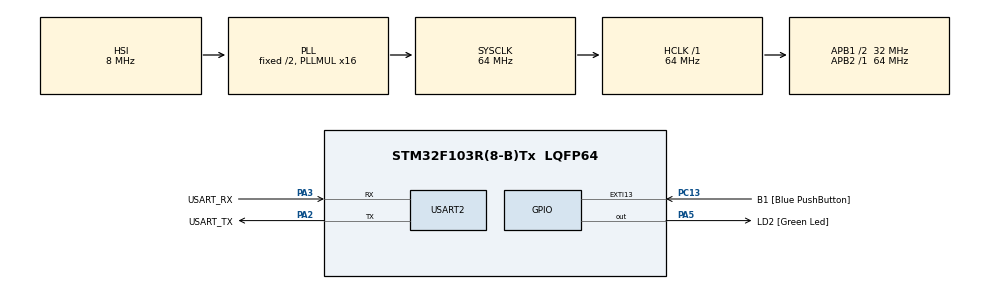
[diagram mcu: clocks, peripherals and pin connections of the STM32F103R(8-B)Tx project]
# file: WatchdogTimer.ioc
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Mcu.Family=STM32F1
Mcu.Name=STM32F103R(8-B)Tx
Mcu.Package=LQFP64
NVIC.EXTI15_10_IRQn=true\:0\:0\:false\:false\:true\:true\:true\:true
NVIC.PriorityGroup=NVIC_PRIORITYGROUP_4
PA13.GPIO_Label=TMS
PA13.Mode=Serial_Wire
PA13.Signal=SYS_JTMS-SWDIO
PA14.GPIO_Label=TCK
PA14.Mode=Serial_Wire
PA14.Signal=SYS_JTCK-SWCLK
PA2.GPIO_Label=USART_TX
PA2.GPIO_Mode=GPIO_MODE_AF_PP
PA2.GPIO_PuPd=GPIO_NOPULL
PA2.GPIO_Speed=GPIO_SPEED_FREQ_LOW
PA2.Mode=Asynchronous
PA2.Signal=USART2_TX
PA3.GPIO_Label=USART_RX
PA3.GPIO_Mode=GPIO_MODE_INPUT
PA3.GPIO_PuPd=GPIO_NOPULL
PA3.Mode=Asynchronous
PA3.Signal=USART2_RX
PA5.GPIO_Label=LD2 [Green Led]
PA5.GPIO_ModeDefaultOutputPP=GPIO_MODE_OUTPUT_PP
PA5.GPIO_PuPd=GPIO_NOPULL
PA5.GPIO_Speed=GPIO_SPEED_FREQ_LOW
PA5.Signal=GPIO_Output
PB3.GPIO_Label=SWO
PB3.Signal=SYS_JTDO-TRACESWO
PC13-TAMPER-RTC.GPIO_Label=B1 [Blue PushButton]
PC13-TAMPER-RTC.GPIO_PuPd=GPIO_NOPULL
PC13-TAMPER-RTC.Signal=GPXTI13
PC14-OSC32_IN.Mode=LSE-External-Oscillator
PC14-OSC32_IN.Signal=RCC_OSC32_IN
PC15-OSC32_OUT.Mode=LSE-External-Oscillator
PC15-OSC32_OUT.Signal=RCC_OSC32_OUT
PD0-OSC_IN.Mode=HSE-External-Clock-Source
PD0-OSC_IN.Signal=RCC_OSC_IN
PD1-OSC_OUT.Mode=HSE-External-Clock-Source
PD1-OSC_OUT.Signal=RCC_OSC_OUT
ProjectManager.HeapSize=0x200
ProjectManager.StackSize=0x400
ProjectManager.TargetToolchain=STM32CubeIDE
RCC.AHBFreq_Value=64000000
RCC.APB1CLKDivider=RCC_HCLK_DIV2
RCC.APB1Freq_Value=32000000
RCC.APB1TimFreq_Value=64000000
RCC.APB2Freq_Value=64000000
RCC.APB2TimFreq_Value=64000000
RCC.HCLKFreq_Value=64000000
RCC.PLLMUL=RCC_PLL_MUL16
RCC.RTCClockSelection=RCC_RTCCLKSOURCE_LSE
RCC.SYSCLKFreq_VALUE=64000000
RCC.SYSCLKSource=RCC_SYSCLKSOURCE_PLLCLK
RCC.USBFreq_Value=64000000
USART2.VirtualMode=VM_ASYNC
VP_WWDG_VS_WWDG.Mode=WWDG_Activate
WWDG.Counter=127
WWDG.Prescaler=WWDG_PRESCALER_8
WWDG.Window=96
board=NUCLEO-F103RB

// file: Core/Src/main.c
/* USER CODE BEGIN Header */
/**
  ******************************************************************************
  * @file           : main.c
  * @brief          : Main program body
  ******************************************************************************
  * @attention
  *
  * Copyright (c) 2026 STMicroelectronics.
  * All rights reserved.
  *
  * This software is licensed under terms that can be found in the LICENSE file
  * in the root directory of this software component.
  * If no LICENSE file comes with this software, it is provided AS-IS.
  *
  ******************************************************************************
  */
/**
 * 01_WatchdogTimer  —  [계층: HAL + WWDG(윈도우 워치독)]  주기적 리프레시로 프로그램 정지 감시
 *
 * 워치독 패턴: 초기화 -> 정상 동작 중 주기적으로 리프레시(킥) -> 리프레시를 못 하면 하드웨어가 리셋.
 * WWDG 는 "너무 늦게"뿐 아니라 "너무 일찍"(카운터가 윈도우 값보다 클 때) 리프레시해도 리셋한다.
 *
 * 하드웨어 대응 (RM0008)
 *   WWDG_CR.T[6:0] : 7비트 다운카운터. 0x3F 로 내려가면(T6 = 0) 리셋
 *   WWDG_CR.WDGA   : 한 번 켜면 리셋 전까지 끌 수 없다
 *   WWDG_CFR.W[6:0], WDGTB : 윈도우 값, 분주비 (여기서는 Window = 0x60, Prescaler = 8)
 *   카운트 주기 = PCLK1 / 4096 / 분주비  (PCLK1 = 32MHz)
 *   HAL_WWDG_Refresh : WWDG_CR 에 카운터 값을 다시 기록
 *   RCC_CSR.WWDGRSTF : 직전 리셋이 WWDG 에 의한 것이면 1 (부팅 시 UART 로 출력)
 *
 * 타이밍 계산 (정상 모드)
 *   1틱 = 4096 x 8 / 32MHz ≈ 1.024ms
 *   Counter = 0x7F(127) 에서 시작
 *   - 늦은 한계 : 0x7F -> 0x3F 까지 64틱 ≈ 65.5ms   (이보다 늦으면 리셋)
 *   - 이른 한계 : 0x7F -> 0x60 까지 31틱 ≈ 31.7ms   (이보다 빨리 리프레시해도 리셋)
 *   => 리프레시 허용 구간 ≈ 32 ~ 65ms, 루프 주기 50ms 는 이 구간 안에 있다.
 *
 * ISR 과 콜백의 구분
 *   HAL_GPIO_EXTI_Callback (이 파일) : 사용자 콜백 정의가 있으나 EXTI 입력은 이 예제의 핵심이 아니다.
 *   WWDG 조기 경고 인터럽트(EWI)는 사용하지 않는다 (EWIMode = DISABLE).
 */
/* USER CODE END Header */
#include "main.h"

UART_HandleTypeDef huart2;

WWDG_HandleTypeDef hwwdg;

void SystemClock_Config(void);
static void MX_GPIO_Init(void);
static void MX_USART2_UART_Init(void);
static void MX_WWDG_Init(void);

int main(void)
{

  /* MCU Configuration--------------------------------------------------------*/

  /* Reset of all peripherals, Initializes the Flash interface and the Systick. */
  HAL_Init();

  /* Configure the system clock */
  SystemClock_Config();

  /* Initialize all configured peripherals */
  MX_GPIO_Init();
  MX_USART2_UART_Init();
  MX_WWDG_Init();

  /* Infinite loop */
  /* USER CODE BEGIN WHILE */
  uint8_t i = 0;

  while (1)
  {
    if( i==20 )
    {
        i=0;
        HAL_GPIO_TogglePin(LD2_GPIO_Port, LD2_Pin);
    }
    HAL_Delay(50);
    i++;

    // Refresh WWDG
    if( HAL_WWDG_Refresh(&hwwdg) != HAL_OK )
    {
      Error_Handler();
    }

    /* USER CODE END WHILE */

  }
}

void SystemClock_Config(void)
{
  RCC_OscInitTypeDef RCC_OscInitStruct = {0};
  RCC_ClkInitTypeDef RCC_ClkInitStruct = {0};

  /** Initializes the RCC Oscillators according to the specified parameters
  * in the RCC_OscInitTypeDef structure.
  */
  RCC_OscInitStruct.OscillatorType = RCC_OSCILLATORTYPE_HSI;
  RCC_OscInitStruct.HSIState = RCC_HSI_ON;
  RCC_OscInitStruct.HSICalibrationValue = RCC_HSICALIBRATION_DEFAULT;
  RCC_OscInitStruct.PLL.PLLState = RCC_PLL_ON;
  RCC_OscInitStruct.PLL.PLLSource = RCC_PLLSOURCE_HSI_DIV2;
  RCC_OscInitStruct.PLL.PLLMUL = RCC_PLL_MUL16;
  if (HAL_RCC_OscConfig(&RCC_OscInitStruct) != HAL_OK)
  {
    Error_Handler();
  }

  /** Initializes the CPU, AHB and APB buses clocks
  */
  RCC_ClkInitStruct.ClockType = RCC_CLOCKTYPE_HCLK|RCC_CLOCKTYPE_SYSCLK
                              |RCC_CLOCKTYPE_PCLK1|RCC_CLOCKTYPE_PCLK2;
  RCC_ClkInitStruct.SYSCLKSource = RCC_SYSCLKSOURCE_PLLCLK;
  RCC_ClkInitStruct.AHBCLKDivider = RCC_SYSCLK_DIV1;
  RCC_ClkInitStruct.APB1CLKDivider = RCC_HCLK_DIV2;
  RCC_ClkInitStruct.APB2CLKDivider = RCC_HCLK_DIV1;

  if (HAL_RCC_ClockConfig(&RCC_ClkInitStruct, FLASH_LATENCY_2) != HAL_OK)
  {
    Error_Handler();
  }
}

static void MX_USART2_UART_Init(void)
{

  huart2.Instance = USART2;
  huart2.Init.BaudRate = 115200;
  huart2.Init.WordLength = UART_WORDLENGTH_8B;
  huart2.Init.StopBits = UART_STOPBITS_1;
  huart2.Init.Parity = UART_PARITY_NONE;
  huart2.Init.Mode = UART_MODE_TX_RX;
  huart2.Init.HwFlowCtl = UART_HWCONTROL_NONE;
  huart2.Init.OverSampling = UART_OVERSAMPLING_16;
  if (HAL_UART_Init(&huart2) != HAL_OK)
  {
    Error_Handler();
  }

}

static void MX_WWDG_Init(void)
{

  /* USER CODE BEGIN WWDG_Init 0 */
  /* WWDG 가 켜지기 전에 리셋 원인을 출력한다 (USART2 는 이미 초기화된 상태).
   * RCC_CSR.WWDGRSTF = 1 이면 직전 리셋이 WWDG 리셋이다.                     */
  if (__HAL_RCC_GET_FLAG(RCC_FLAG_WWDGRST))
  {
    HAL_UART_Transmit(&huart2, (uint8_t *)"Reset by WWDG\r\n", 15, 100);
  }
  else
  {
    HAL_UART_Transmit(&huart2, (uint8_t *)"Power-on / NRST reset\r\n", 23, 100);
  }
  __HAL_RCC_CLEAR_RESET_FLAGS();   /* RCC_CSR.RMVF = 1 : 리셋 플래그 모두 클리어 */
  /* USER CODE END WWDG_Init 0 */

  hwwdg.Instance = WWDG;
  hwwdg.Init.Prescaler = WWDG_PRESCALER_8;
  hwwdg.Init.Window = 96;
  hwwdg.Init.Counter = 127;
  hwwdg.Init.EWIMode = WWDG_EWI_DISABLE;
  if (HAL_WWDG_Init(&hwwdg) != HAL_OK)
  {
    Error_Handler();
  }

}

static void MX_GPIO_Init(void)
{
  GPIO_InitTypeDef GPIO_InitStruct = {0};

  /* GPIO Ports Clock Enable */
  __HAL_RCC_GPIOC_CLK_ENABLE();
  __HAL_RCC_GPIOD_CLK_ENABLE();
  __HAL_RCC_GPIOA_CLK_ENABLE();
  __HAL_RCC_GPIOB_CLK_ENABLE();

  /*Configure GPIO pin Output Level */
  HAL_GPIO_WritePin(LD2_GPIO_Port, LD2_Pin, GPIO_PIN_RESET);

  /*Configure GPIO pin : B1_Pin */
  GPIO_InitStruct.Pin = B1_Pin;
  GPIO_InitStruct.Mode = GPIO_MODE_IT_RISING;
  GPIO_InitStruct.Pull = GPIO_NOPULL;
  HAL_GPIO_Init(B1_GPIO_Port, &GPIO_InitStruct);

  /*Configure GPIO pin : LD2_Pin */
  GPIO_InitStruct.Pin = LD2_Pin;
  GPIO_InitStruct.Mode = GPIO_MODE_OUTPUT_PP;
  GPIO_InitStruct.Pull = GPIO_NOPULL;
  GPIO_InitStruct.Speed = GPIO_SPEED_FREQ_LOW;
  HAL_GPIO_Init(LD2_GPIO_Port, &GPIO_InitStruct);

  /* EXTI interrupt init*/
  HAL_NVIC_SetPriority(EXTI15_10_IRQn, 0, 0);
  HAL_NVIC_EnableIRQ(EXTI15_10_IRQn);

}

/* USER CODE BEGIN 4 */
void HAL_GPIO_EXTI_Callback(uint16_t GPIO_Pin)
{
    while(1);
}
/* USER CODE END 4 */

void Error_Handler(void)
{
  __disable_irq();
  while (1)
  {
  }
}
